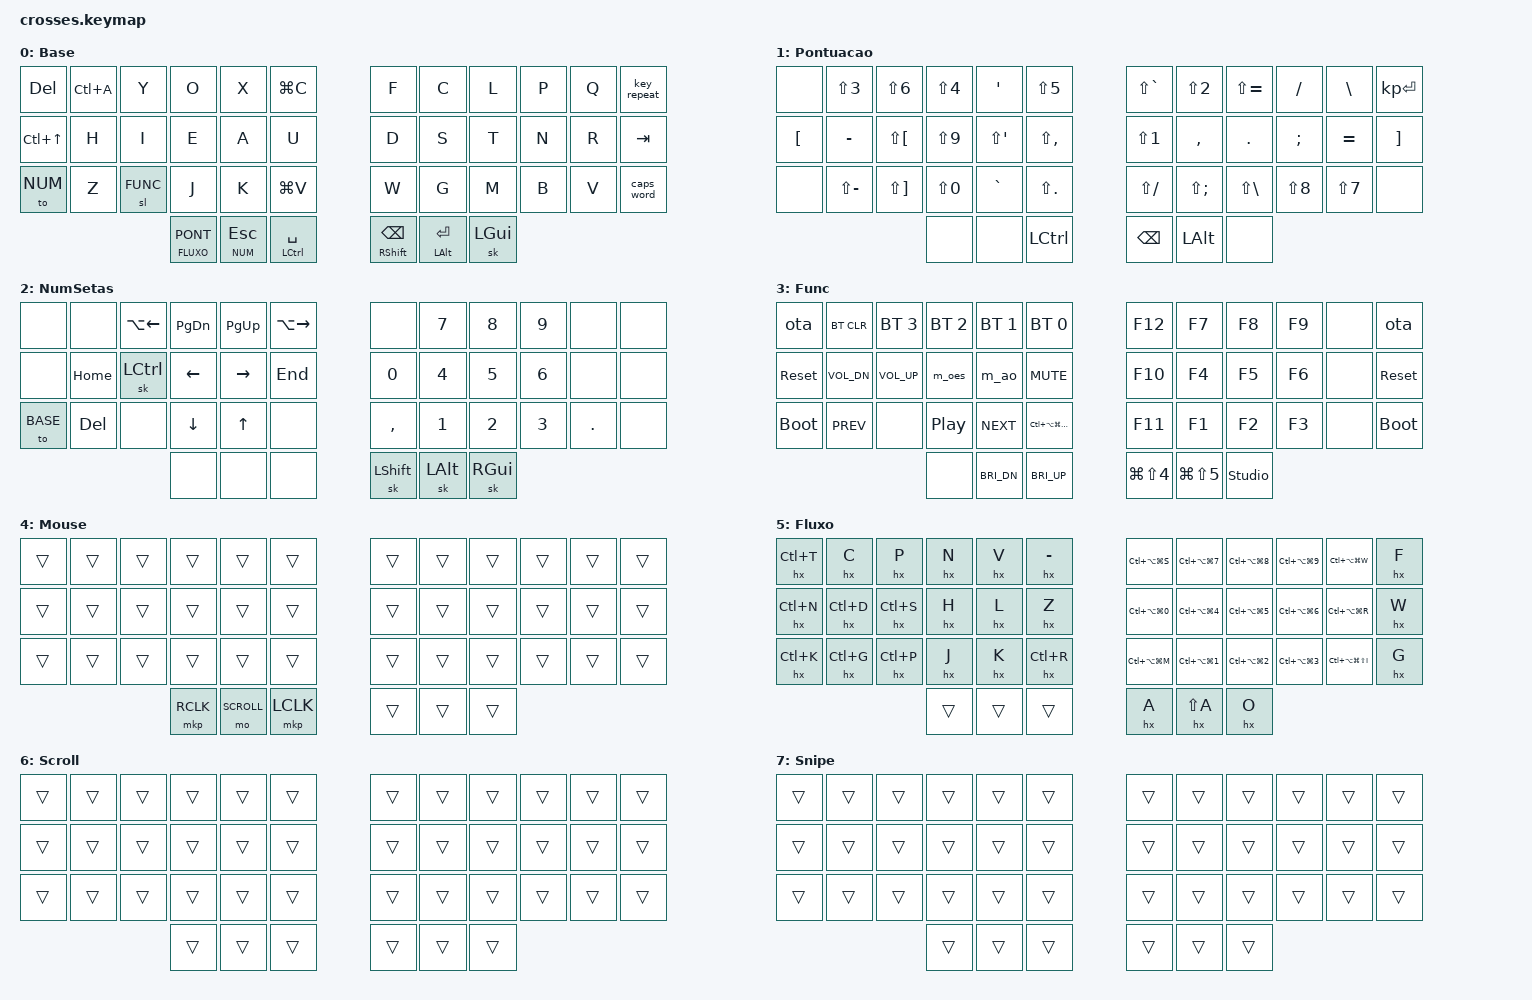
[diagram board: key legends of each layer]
#include <behaviors.dtsi>
#include <dt-bindings/zmk/bt.h>
#include <dt-bindings/zmk/keys.h>
#include <dt-bindings/zmk/pointing.h>

// Layers (os números do trackball em crosses_right.overlay usam os mesmos índices)
#define BASE   0
#define PONT   1
#define NUM    2
#define FUNC   3
// O driver do trackball decide rolar/precisão pelo layer ATIVO MAIS ALTO: Scroll e Snipe
// precisam ficar acima do Mouse (automouse), senão o Mouse ligado esconde os dois.
#define MOUSE  4
#define FLUXO  5
#define SCROLL 6
#define SNIPE  7

&mt {
    tapping-term-ms = <200>;
    flavor = "balanced";
    quick-tap-ms = <150>;
};

/ {
    behaviors {
        // Espaço/Ctrl: igual ao &mt, mas só vira Ctrl depois de 150 ms sem digitar.
        // Evita ctrl+letra em rolagens rápidas e preserva o <leader> (Espaço) do LazyVim.
        // Fica só aqui: no Shift do Backspace isso transformaria um Shift rápido em Backspace.
        spc_ctrl: spc_ctrl {
            compatible = "zmk,behavior-hold-tap";
            #binding-cells = <2>;
            flavor = "balanced";
            tapping-term-ms = <200>;
            quick-tap-ms = <150>;
            require-prior-idle-ms = <150>;
            bindings = <&kp>, <&kp>;
        };

        // OTA: reinicia no bootloader Adafruit em modo atualização por Bluetooth (GPREGRET = 0xA8,
        // DFU_MAGIC_OTA_RESET). Nome do nó com até 8 caracteres porque também roda na metade periférica.
        ota: otadfu {
            compatible = "zmk,behavior-reset";
            #binding-cells = <0>;
            type = <0xA8>;
            display-name = "OTA";
        };

        // Polegar esquerdo externo: toque = pontuação sticky (como antes), segurar = Fluxo
        slmo: slmo {
            compatible = "zmk,behavior-hold-tap";
            #binding-cells = <2>;
            flavor = "balanced";
            tapping-term-ms = <200>;
            quick-tap-ms = <150>;
            bindings = <&mo>, <&sl>;
        };
    };

    macros {
        // herdr: prefixo ctrl+a seguido da tecla da ação (&hx C = nova aba)
        ZMK_MACRO1(hx,
            wait-ms = <30>;
            tap-ms = <30>;
            bindings = <&kp LC(A)>, <&macro_param_1to1>, <&kp MACRO_PLACEHOLDER>;
        )


        ZMK_MACRO(m_ao,
            wait-ms = <10>;
            tap-ms = <10>;
            bindings = <&kp LS(GRAVE) &kp A &kp O>;
        )

        ZMK_MACRO(m_oes,
            wait-ms = <10>;
            tap-ms = <10>;
            bindings = <&kp LS(GRAVE) &kp O &kp E &kp S>;
        )
    };

    keymap {
        compatible = "zmk,keymap";

        Base {
            display-name = "Base";
            bindings = <
&kp DELETE            &kp LC(A)            &kp Y                 &kp O               &kp X               &kp LG(C)            &kp F             &kp C                  &kp L                      &kp P    &kp Q  &key_repeat
&kp LC(UP)            &kp H                &kp I                 &kp E               &kp A               &kp U                &kp D             &kp S                  &kp T                      &kp N    &kp R  &kp TAB
&to NUM               &kp Z                &sl FUNC              &kp J               &kp K               &kp LG(V)            &kp W             &kp G                  &kp M                      &kp B    &kp V  &caps_word
                                                        &slmo FLUXO PONT     &lt NUM ESCAPE     &spc_ctrl LEFT_CONTROL SPACE  &mt RIGHT_SHIFT BACKSPACE  &mt LEFT_ALT ENTER    &sk LEFT_GUI
            >;
        };

        Pontuacao {
            display-name = "Pontuacao";
            bindings = <
&none             &kp LS(N3)           &kp LS(N6)            &kp LS(N4)          &kp SQT             &kp LS(N5)           &kp LS(GRAVE)     &kp LS(N2)             &kp LS(EQUAL)              &kp SLASH    &kp BACKSLASH  &kp KP_ENTER
&kp LEFT_BRACKET  &kp MINUS            &kp LS(LEFT_BRACKET)  &kp LS(N9)          &kp LS(SQT)         &kp LS(COMMA)        &kp LS(N1)        &kp COMMA              &kp DOT                    &kp SEMICOLON  &kp EQUAL  &kp RIGHT_BRACKET
&none             &kp LS(MINUS)        &kp LS(RIGHT_BRACKET) &kp LS(N0)          &kp GRAVE           &kp LS(DOT)          &kp LS(SLASH)     &kp LS(SEMICOLON)      &kp LS(BACKSLASH)          &kp LS(N8)  &kp LS(N7)  &none
                                                        &none                &none               &kp LEFT_CONTROL      &kp BACKSPACE            &kp LEFT_ALT          &none
            >;
        };

        // Setas na esquerda + numpad na direita. &to NUM no base entra; a mesma tecla aqui volta.
        NumericaSetas {
            display-name = "NumSetas";
            bindings = <
&none     &none         &kp LA(LEFT)       &kp PG_DN        &kp PG_UP         &kp LA(RIGHT)  &none          &kp NUMBER_7  &kp NUMBER_8  &kp NUMBER_9  &none     &none
&none     &kp HOME      &sk LEFT_CONTROL   &kp LEFT_ARROW   &kp RIGHT_ARROW   &kp END        &kp NUMBER_0   &kp NUMBER_4  &kp NUMBER_5  &kp NUMBER_6  &none     &none
&to BASE  &kp DELETE    &none              &kp DOWN_ARROW   &kp UP_ARROW      &none          &kp COMMA      &kp NUMBER_1  &kp NUMBER_2  &kp NUMBER_3  &kp DOT   &none
                                           &none            &none             &none          &sk LEFT_SHIFT &sk LEFT_ALT  &sk RIGHT_GUI
            >;
        };

        // &sl FUNC + 1 tecla: ão/ões e mídia na mão esquerda (descanso), F-keys na direita, sistema nos polegares.
        // reset/boot nos dois cantos externos: em teclado dividido cada um só age na metade em que é apertado.
        Funcionalidade {
            display-name = "Func";
            bindings = <
&ota          &bt BT_CLR        &bt BT_SEL 3      &bt BT_SEL 2          &bt BT_SEL 1        &bt BT_SEL 0       &kp F12   &kp F7  &kp F8    &kp F9  &none         &ota
&sys_reset    &kp C_VOL_DN      &kp C_VOL_UP      &m_oes                &m_ao               &kp C_MUTE         &kp F10   &kp F4  &kp F5    &kp F6  &none         &sys_reset
&bootloader   &kp C_PREV        &none             &kp C_PP              &kp C_NEXT          &kp LC(LA(LG(LS(M)))) &kp F11   &kp F1  &kp F2    &kp F3  &none         &bootloader
                                &none             &kp C_BRI_DN          &kp C_BRI_UP        &kp LG(LS(N4))     &kp LG(LS(N5))     &studio_unlock
            >;
        };

        // Mouse: liga ao mexer no trackball (zip_temp_layer no overlay). Só os polegares esquerdos mudam:
        // clique direito · Scroll (segurar) · clique. Qualquer outra tecla desliga o layer e digita normal.
        Mouse {
            display-name = "Mouse";
            bindings = <
&trans  &trans  &trans  &trans  &trans  &trans  &trans  &trans  &trans  &trans  &trans  &trans
&trans  &trans  &trans  &trans  &trans  &trans  &trans  &trans  &trans  &trans  &trans  &trans
&trans  &trans  &trans  &trans  &trans  &trans  &trans  &trans  &trans  &trans  &trans  &trans
                        &mkp RCLK  &mo SCROLL  &mkp LCLK  &trans  &trans  &trans
            >;
        };

        // Segurar o polegar esquerdo externo. Esquerda = herdr (ctrl+a …): coluna externa tarefas/captura/mapa,
        // abas e splits em cima, panes nas mesmas posições das setas do NumSetas. Polegares direitos = agente ▶ ◀ e notificado.
        // Direita = AeroSpace via ctrl+alt+⌘ (alt+N fica para o herdr),
        // com os workspaces na mesma posição dos números do layer NumSetas (Fluxo + 5 = alt-5).
        Fluxo {
            display-name = "Fluxo";
            bindings = <
&hx LC(T)      &hx C        &hx P        &hx N        &hx V        &hx MINUS     &kp LC(LA(LG(S)))        &kp LC(LA(LG(N7)))  &kp LC(LA(LG(N8)))  &kp LC(LA(LG(N9)))  &kp LC(LA(LG(W)))  &hx F
&hx LC(N)      &hx LC(D)    &hx LC(S)    &hx H        &hx L        &hx Z         &kp LC(LA(LG(N0)))       &kp LC(LA(LG(N4)))  &kp LC(LA(LG(N5)))  &kp LC(LA(LG(N6)))  &kp LC(LA(LG(R)))  &hx W
&hx LC(K)      &hx LC(G)    &hx LC(P)    &hx J        &hx K        &hx LC(R)     &kp LC(LA(LG(M)))        &kp LC(LA(LG(N1)))  &kp LC(LA(LG(N2)))  &kp LC(LA(LG(N3)))  &kp LC(LA(LG(LS(I))))  &hx G
                                         &trans       &trans       &trans        &hx A            &hx LS(A)   &hx O
            >;
        };

        // Segurando &mo SCROLL (tecla do E no layer Mouse, onde era o clique do meio), o trackball rola (scroll-layers no overlay)
        Scroll {
            display-name = "Scroll";
            bindings = <
&trans  &trans  &trans  &trans  &trans  &trans  &trans  &trans  &trans  &trans  &trans  &trans
&trans  &trans  &trans  &trans  &trans  &trans  &trans  &trans  &trans  &trans  &trans  &trans
&trans  &trans  &trans  &trans  &trans  &trans  &trans  &trans  &trans  &trans  &trans  &trans
                        &trans  &trans  &trans  &trans  &trans  &trans
            >;
        };

        // Segurando &mo SNIPE (layer Mouse), o trackball fica lento e preciso (snipe-layers)
        Snipe {
            display-name = "Snipe";
            bindings = <
&trans  &trans  &trans  &trans  &trans  &trans  &trans  &trans  &trans  &trans  &trans  &trans
&trans  &trans  &trans  &trans  &trans  &trans  &trans  &trans  &trans  &trans  &trans  &trans
&trans  &trans  &trans  &trans  &trans  &trans  &trans  &trans  &trans  &trans  &trans  &trans
                        &trans  &trans  &trans  &trans  &trans  &trans
            >;
        };
    };
};
